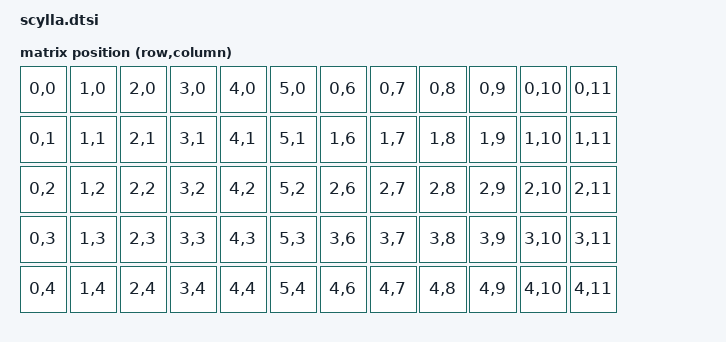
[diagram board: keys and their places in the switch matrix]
#include <dt-bindings/zmk/matrix_transform.h>

/ {
    chosen {
        /* Важливо: саме matrix-transform (з дефісом) */
        zmk,matrix-transform = &default_transform;
    };

    default_transform: default_transform {
        compatible = "zmk,matrix-transform";

        /* Логічна сітка для keymap: 5 рядків × 12 колонок */
        rows = <5>;
        columns = <12>;

        /*
         * Ліва половина (колонки 0..5):
         *   після swap у kscan: event(row) = old_col, event(col) = old_row
         *   тому для логічного (r,c) треба RC(c,r)
         *
         * Права половина (колонки 6..11):
         *   звичайно RC(r,c) але c вже з offset'ом (див. scylla_right.overlay нижче)
         */
        map = <
            /* r=0 */
            RC(0,0) RC(1,0) RC(2,0) RC(3,0) RC(4,0) RC(5,0)   RC(0,6) RC(0,7) RC(0,8) RC(0,9) RC(0,10) RC(0,11)
            /* r=1 */
            RC(0,1) RC(1,1) RC(2,1) RC(3,1) RC(4,1) RC(5,1)   RC(1,6) RC(1,7) RC(1,8) RC(1,9) RC(1,10) RC(1,11)
            /* r=2 */
            RC(0,2) RC(1,2) RC(2,2) RC(3,2) RC(4,2) RC(5,2)   RC(2,6) RC(2,7) RC(2,8) RC(2,9) RC(2,10) RC(2,11)
            /* r=3 */
            RC(0,3) RC(1,3) RC(2,3) RC(3,3) RC(4,3) RC(5,3)   RC(3,6) RC(3,7) RC(3,8) RC(3,9) RC(3,10) RC(3,11)
            /* r=4 (thumb row у твоїй логіці) */
            RC(0,4) RC(1,4) RC(2,4) RC(3,4) RC(4,4) RC(5,4)   RC(4,6) RC(4,7) RC(4,8) RC(4,9) RC(4,10) RC(4,11)
        >;
    };
};
